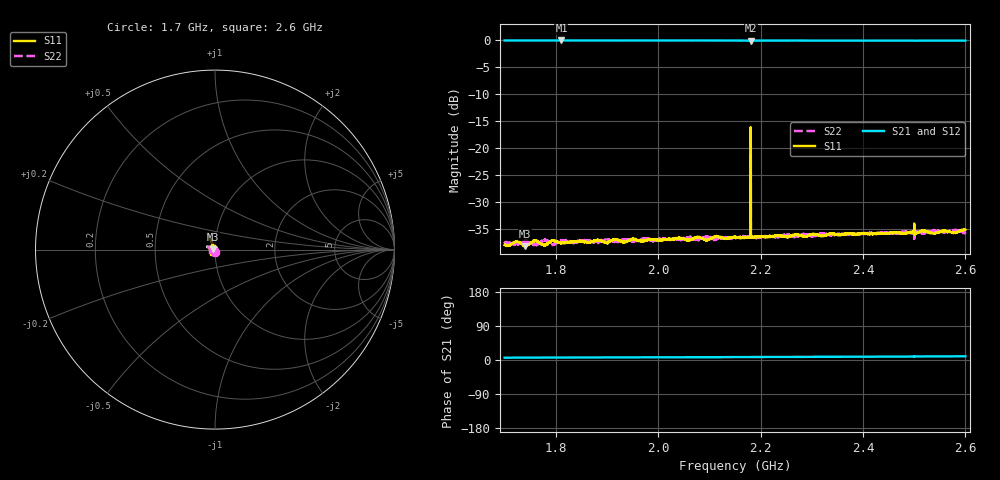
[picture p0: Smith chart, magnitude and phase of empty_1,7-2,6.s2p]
!Created with skrf (http://scikit-rf.org).
# GHz S RI R 50.0
!freq ReS11 ImS11 ReS21 ImS21 ReS12 ImS12 ReS22 ImS22
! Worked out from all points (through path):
!   5001 points, 1.7 GHz to 2.6 GHz, reference 50 ohm
!   highest |S21| = -0.08 dB at 1.811 GHz (marker M1); lowest = -0.1 dB at 2.181 GHz (marker M2)
!   lowest |S11| = -38.2 dB at 1.739 GHz (marker M3), VSWR 1.02, Z = 48.8 + j0.162 ohm
!   |S11| at or under -10 dB: start of sweep to end of sweep
!   |S22| runs from -38.1 to -19.6 dB; largest |S21 - S12| = 0.014
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1.7  -0.0126 0.000615  0.9847 0.1057  0.9854 0.1089  -0.00198 -0.0133
1.72484  -0.0134 0.00162  0.9845 0.1068  0.9845 0.1091  -0.00192 -0.0128
1.73924  -0.0121 0.00165  0.9844 0.1081  0.9844 0.1103  -0.000862 -0.0135
1.75886  -0.0133 0.00299  0.984 0.1094  0.9841 0.1119  -0.000659 -0.0126
1.7765  -0.0123 0.00259  0.9838 0.1107  0.9837 0.1139  0.000393 -0.0139
1.79576  -0.0131 0.00436  0.9839 0.1118  0.9844 0.1146  0.000589 -0.0126
1.81106  -0.0126 0.00349  0.9843 0.1125  0.9842 0.1146  0.00108 -0.0136
1.83194  -0.0123 0.00542  0.9838 0.1135  0.9839 0.1159  0.00189 -0.013
1.85012  -0.0127 0.0051  0.9835 0.1146  0.9842 0.1169  0.00191 -0.0135
2.00006  -0.0105 0.00926  0.9824 0.1235  0.9826 0.1255  0.00683 -0.0125
2.15  -0.0062 0.0135  0.98 0.1321  0.9798 0.1331  0.0113 -0.00965
2.17592  -0.00535 0.0138  0.9789 0.1347  0.9801 0.1349  0.0121 -0.00905
2.17646  -0.00534 0.0138  0.9788 0.1346  0.98 0.135  0.012 -0.00869
2.1806  -0.0397 0.0893  0.9748 0.133  0.976 0.1331  -0.0445 0.0156
2.1851  0.00525 -0.0139  0.9788 0.1355  0.9801 0.1353  -0.0119 0.00868
2.18564  0.00519 -0.014  0.9788 0.1353  0.98 0.1353  -0.0119 0.00896
2.18618  0.00515 -0.0141  0.9789 0.1356  0.9802 0.1354  -0.0118 0.00865
2.30012  0.00155 -0.0158  0.9778 0.1426  0.9782 0.1418  -0.014 0.00573
2.45006  -0.0041 -0.0156  0.9754 0.1526  0.9758 0.1515  -0.0162 0.000689
2.51828  -0.00711 -0.0154  0.9736 0.1617  0.9738 0.1578  -0.0161 -0.00183
2.57912  -0.00888 -0.0137  0.9725 0.1655  0.9724 0.1619  -0.0168 -0.00369
2.6  -0.00972 -0.0144  0.9724 0.1659  0.9723 0.163  -0.0159 -0.00439
